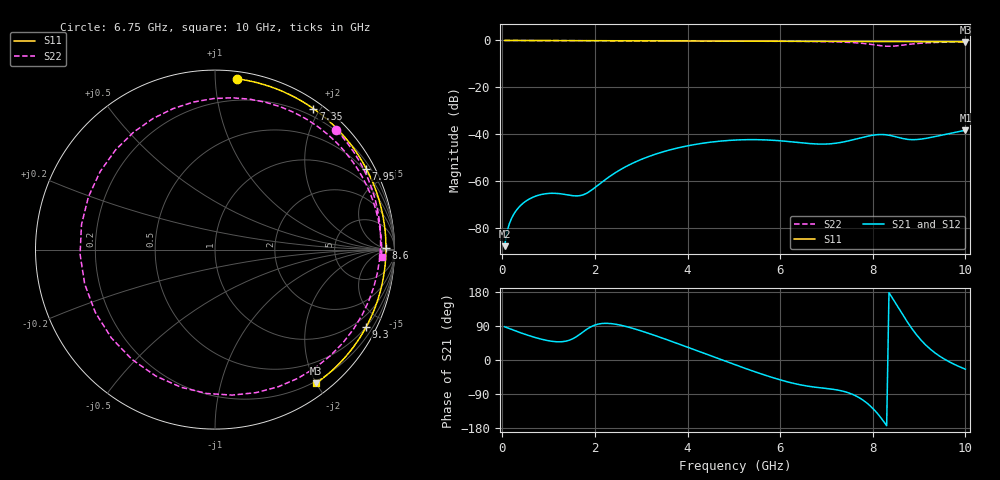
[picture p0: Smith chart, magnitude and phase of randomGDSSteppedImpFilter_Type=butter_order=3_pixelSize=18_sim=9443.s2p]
! freq	dB(S11)	phase(S11)	dB(S12)	phase(S12)
!  dB(S21)	phase(S21)	dB(S22)	phase(S22)
!S-par simulation data
#  GHz  S  DB  R 50
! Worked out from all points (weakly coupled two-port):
!   200 points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, 50 MHz to 10 GHz, reference 50 ohm
!   highest |S21| = -38.20 dB at 10 GHz (marker M1); lowest = -87.5 dB at 50 MHz (marker M2)
!   lowest |S11| = -0.6 dB at 10 GHz (marker M3), VSWR 29.05, Z = 8.64 - j99.9 ohm
!   |S11| at or under -10 dB: nowhere
!   |S22| runs from -2.5 to 0.0 dB; largest |S21 - S12| = 0
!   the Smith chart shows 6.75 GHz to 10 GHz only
!   S11 on the Smith chart (normalised r, x): 6.75 GHz: 0.05, +1.14; 7.35 GHz: 0.10, +1.91; 7.95 GHz: 0.38, +3.95; 8.6 GHz: 40, +6; 9.3 GHz: 0.49, -4.07; 10 GHz: 0.17, -2.00
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0.05  -0.00 -2.2  -87.54 87.8  -87.54 87.8  -0.00 -2.6
0.35  -0.02 -14.9  -71.15 73.8  -71.15 73.8  -0.02 -18.3
0.65  -0.03 -27.5  -66.82 61.6  -66.82 61.6  -0.04 -33.7
1.2  -0.06 -50.4  -65.12 48.0  -65.12 48.0  -0.08 -61.2
1.75  -0.09 -72.7  -65.65 74.6  -65.65 74.6  -0.11 -87.4
2.5  -0.13 -102.3  -55.57 93.2  -55.57 93.2  -0.14 -121.0
3.4  -0.17 -137.1  -47.81 60.3  -47.81 60.3  -0.18 -159.1
4.2  -0.22 -168.2  -44.13 24.7  -44.13 24.7  -0.23 167.7
5.05  -0.27 157.5  -42.36 -13.6  -42.36 -13.6  -0.28 131.2
5.95  -0.32 118.8  -42.62 -50.6  -42.62 -50.6  -0.34 88.9
6.7  -0.36 84.9  -43.96 -70.9  -43.96 -70.9  -0.44 47.6
6.75  -0.36 82.6  -44.02 -71.7  -44.02 -71.7  -0.45 44.6
7.35  -0.37 55.1  -43.26 -82.1  -43.26 -82.1  -0.70 0.8
7.65  -0.38 41.5  -41.89 -95.7  -41.89 -95.7  -1.01 -29.9
7.95  -0.39 28.2  -40.50 -121.8  -40.50 -121.8  -1.63 -73.9
8.15  -0.40 19.4  -40.04 -148.4  -40.04 -148.4  -2.18 -115.2
8.35  -0.41 10.9  -40.33 177.4  -40.33 177.4  -2.49 -165.2
8.45  -0.41 6.7  -40.75 158.3  -40.75 158.3  -2.42 169.4
8.6  -0.42 0.4  -41.51 128.7  -41.51 128.7  -2.11 134.9
8.9  -0.44 -11.7  -42.22 73.6  -42.22 73.6  -1.40 83.6
9.3  -0.48 -27.2  -41.08 22.8  -41.08 22.8  -0.89 41.4
10  -0.60 -52.9  -38.20 -24.2  -38.20 -24.2  -0.63 -2.7
